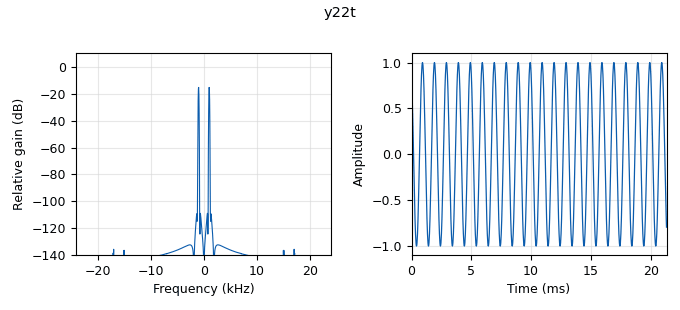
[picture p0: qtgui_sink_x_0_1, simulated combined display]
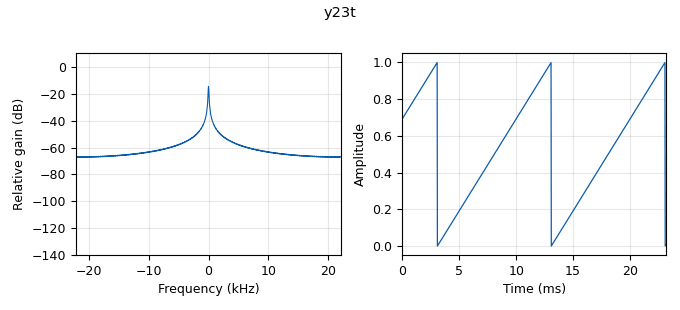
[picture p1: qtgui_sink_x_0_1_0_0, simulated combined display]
options:
  parameters:
    author: P. Mathys
    generate_options: qt_gui
    id: read_writeTests_real_gr38_001
    output_language: python
    title: Read/Write Tests for real-valued signals
  states: {}

blocks:
- name: Fs2
  id: variable
  parameters:
    value: '32000'
  states: {}
- name: Fs22
  id: variable
  parameters:
    value: '48000'
  states: {}
- name: Fs23
  id: variable
  parameters:
    value: '44100'
  states: {}
- name: Fs3
  id: variable
  parameters:
    value: '22050'
  states: {}
- name: analog_sig_source_x_0
  id: analog_sig_source_x
  parameters:
    amp: '1'
    freq: '1000'
    offset: '0'
    phase: '0'
    samp_rate: Fs22
    type: float
    waveform: analog.GR_SIN_WAVE
  states: {}
- name: analog_sig_source_x_0_0_0
  id: analog_sig_source_x
  parameters:
    amp: '1'
    freq: '100'
    offset: '0'
    phase: '0'
    samp_rate: Fs23
    type: float
    waveform: analog.GR_SAW_WAVE
  states: {}
- name: blocks_file_sink_0
  id: blocks_file_sink
  parameters:
    file: sig_x22t_float32_Fs48000.bin
    type: float
  states: {state: disabled}
- name: blocks_file_source_0
  id: blocks_file_source
  parameters:
    file: sig_x2t_float32_Fs32000.bin
    repeat: 'True'
    type: float
  states: {}
- name: blocks_throttle_0
  id: blocks_throttle
  parameters:
    samples_per_second: Fs2
    type: float
  states: {}
- name: blocks_throttle_0_0
  id: blocks_throttle
  parameters:
    samples_per_second: Fs3
    type: float
  states: {}
- name: blocks_throttle_0_0_0
  id: blocks_throttle
  parameters:
    samples_per_second: Fs22
    type: float
  states: {}
- name: blocks_throttle_0_0_0_0_0
  id: blocks_throttle
  parameters:
    samples_per_second: Fs23
    type: float
  states: {}
- name: blocks_wavfile_sink_0
  id: blocks_wavfile_sink
  parameters:
    bits_per_sample: '16'
    file: sig_x23t_PAMint16_Fs44100.wav
    samp_rate: Fs23
  states: {state: disabled}
- name: blocks_wavfile_source_0
  id: blocks_wavfile_source
  parameters:
    file: sig_x3t_PAMint16_Fs22050.wav
    repeat: 'True'
  states: {}
- name: qtgui_sink_x_0
  id: qtgui_sink_x
  parameters:
    bw: Fs2
    fc: '0'
    fftsize: '1024'
    gui_hint: 0,0,1,1
    name: '"y2t"'
    type: float
    wintype: firdes.WIN_BLACKMAN_hARRIS
  states: {}
- name: qtgui_sink_x_0_0
  id: qtgui_sink_x
  parameters:
    bw: Fs3
    fc: '0'
    fftsize: '4096'
    gui_hint: 0,1,1,1
    name: '"y3t"'
    type: float
    wintype: firdes.WIN_BLACKMAN_hARRIS
  states: {}
- name: qtgui_sink_x_0_1
  id: qtgui_sink_x
  parameters:
    bw: Fs22
    fc: '0'
    fftsize: '1024'
    gui_hint: 1,0,1,1
    name: '"y22t"'
    type: float
    wintype: firdes.WIN_BLACKMAN_hARRIS
  states: {}
- name: qtgui_sink_x_0_1_0_0
  id: qtgui_sink_x
  parameters:
    bw: Fs23
    fc: '0'
    fftsize: '1024'
    gui_hint: 1,1,1,1
    name: '"y23t"'
    type: float
    wintype: firdes.WIN_BLACKMAN_hARRIS
  states: {}

connections:
- [analog_sig_source_x_0, '0', blocks_throttle_0_0_0, '0']
- [analog_sig_source_x_0_0_0, '0', blocks_throttle_0_0_0_0_0, '0']
- [blocks_file_source_0, '0', blocks_throttle_0, '0']
- [blocks_throttle_0, '0', qtgui_sink_x_0, '0']
- [blocks_throttle_0_0, '0', qtgui_sink_x_0_0, '0']
- [blocks_throttle_0_0_0, '0', blocks_file_sink_0, '0']
- [blocks_throttle_0_0_0, '0', qtgui_sink_x_0_1, '0']
- [blocks_throttle_0_0_0_0_0, '0', blocks_wavfile_sink_0, '0']
- [blocks_throttle_0_0_0_0_0, '0', qtgui_sink_x_0_1_0_0, '0']
- [blocks_wavfile_source_0, '0', blocks_throttle_0_0, '0']

metadata:
  file_format: 1
